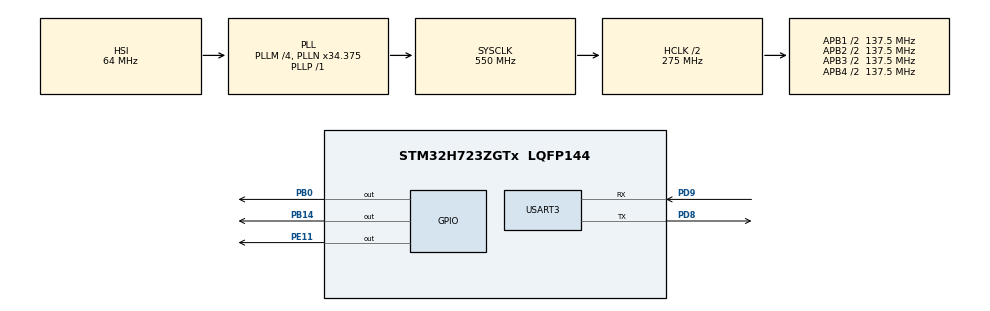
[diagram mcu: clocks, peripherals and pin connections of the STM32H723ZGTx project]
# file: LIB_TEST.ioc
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CORTEX_M7.default_mode_Activation=1
Mcu.Family=STM32H7
Mcu.Name=STM32H723ZGTx
Mcu.Package=LQFP144
NVIC.PriorityGroup=NVIC_PRIORITYGROUP_4
NVIC.USART3_IRQn=true\:0\:0\:false\:false\:true\:true\:true\:true
PB0.Signal=GPIO_Output
PB14.Signal=GPIO_Output
PD8.Mode=Asynchronous
PD8.Signal=USART3_TX
PD9.Mode=Asynchronous
PD9.Signal=USART3_RX
PE11.Signal=GPIO_Output
PH0-OSC_IN.Mode=HSE-External-Oscillator
PH0-OSC_IN.Signal=RCC_OSC_IN
PH1-OSC_OUT.Mode=HSE-External-Oscillator
PH1-OSC_OUT.Signal=RCC_OSC_OUT
ProjectManager.HeapSize=0x200
ProjectManager.StackSize=0x400
ProjectManager.TargetToolchain=CMake
RCC.ADCFreq_Value=129000000
RCC.APB1Freq_Value=137500000
RCC.APB2Freq_Value=137500000
RCC.APB3Freq_Value=137500000
RCC.APB4Freq_Value=137500000
RCC.CortexFreq_Value=550000000
RCC.D1PPRE=RCC_APB3_DIV2
RCC.D2PPRE1=RCC_APB1_DIV2
RCC.D2PPRE2=RCC_APB2_DIV2
RCC.D3PPRE=RCC_APB4_DIV2
RCC.DIVM1=4
RCC.DIVN1=34
RCC.DIVP1=1
RCC.HCLKFreq_Value=275000000
RCC.HPRE=RCC_HCLK_DIV2
RCC.PLL2FRACN=0
RCC.PLL3FRACN=0
RCC.PLLFRACN=3072
RCC.SYSCLKFreq_VALUE=550000000
RCC.SYSCLKSource=RCC_SYSCLKSOURCE_PLLCLK
RCC.USBFreq_Value=275000000
USART3.VirtualMode-Asynchronous=VM_ASYNC
VP_MEMORYMAP_VS_MEMORYMAP.Mode=CurAppReg
board=custom

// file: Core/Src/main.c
/* USER CODE BEGIN Header */
/**
  ******************************************************************************
  * @file           : main.c
  * @brief          : Main program body
  ******************************************************************************
  * @attention
  *
  * Copyright (c) 2026 STMicroelectronics.
  * All rights reserved.
  *
  * This software is licensed under terms that can be found in the LICENSE file
  * in the root directory of this software component.
  * If no LICENSE file comes with this software, it is provided AS-IS.
  *
  ******************************************************************************
  */
/* USER CODE END Header */
#include "main.h"
#include "usart.h"
#include "gpio.h"

/* USER CODE BEGIN Includes */
#include "ai_process.h"  // Native API wrapper
#include "stdio.h"
/* USER CODE END Includes */

void SystemClock_Config(void);
static void MPU_Config(void);

/* USER CODE BEGIN 0 */
static int8_t input_buffer[256] = {0};
/* USER CODE END 0 */

int main(void)
{

  /* MPU Configuration--------------------------------------------------------*/
  MPU_Config();

  /* MCU Configuration--------------------------------------------------------*/

  /* Reset of all peripherals, Initializes the Flash interface and the Systick. */
  HAL_Init();

  /* Configure the system clock */
  SystemClock_Config();

  /* Initialize all configured peripherals */
  MX_GPIO_Init();
  MX_USART3_UART_Init();
  /* USER CODE BEGIN 2 */

  int init_status = TFLM_Init();
  if (init_status != 0) {
      printf("TFLM Init Error: %d\r\n", init_status);
      while(1) { HAL_Delay(200); }
  }

  // 2. Prepare Test Input Data
  input_buffer[0] = 125;
  input_buffer[1] = 120;
  input_buffer[2] = 115;
  input_buffer[3] = 110;
  int8_t result = TFLM_Infer(input_buffer, 4);
  printf("Result: %d\r\n", result);
  printf("\r\n");

  /* USER CODE END 2 */

  /* Infinite loop */
  while (1) {

    /* USER CODE BEGIN 3 */
    // Loop Test: Decrement input values each iteration
    for(int i=0; i<4; i++) {
      input_buffer[i] -= 5;
    }

    printf("Input: %d, %d, %d, %d\r\n",
           input_buffer[0], input_buffer[1], input_buffer[2], input_buffer[3]);

    result = TFLM_Infer(input_buffer, 4);
    printf("Result: %d\r\n\r\n", result);

    HAL_GPIO_TogglePin(GPIOB, GPIO_PIN_0);
    HAL_Delay(1000);
  }
  /* USER CODE END 3 */
}

void SystemClock_Config(void)
{
  RCC_OscInitTypeDef RCC_OscInitStruct = {0};
  RCC_ClkInitTypeDef RCC_ClkInitStruct = {0};

  /** Supply configuration update enable
  */
  HAL_PWREx_ConfigSupply(PWR_LDO_SUPPLY);

  /** Configure the main internal regulator output voltage
  */
  __HAL_PWR_VOLTAGESCALING_CONFIG(PWR_REGULATOR_VOLTAGE_SCALE0);

  while(!__HAL_PWR_GET_FLAG(PWR_FLAG_VOSRDY)) {}

  /** Initializes the RCC Oscillators according to the specified parameters
  * in the RCC_OscInitTypeDef structure.
  */
  RCC_OscInitStruct.OscillatorType = RCC_OSCILLATORTYPE_HSI;
  RCC_OscInitStruct.HSIState = RCC_HSI_DIV1;
  RCC_OscInitStruct.HSICalibrationValue = 64;
  RCC_OscInitStruct.PLL.PLLState = RCC_PLL_ON;
  RCC_OscInitStruct.PLL.PLLSource = RCC_PLLSOURCE_HSI;
  RCC_OscInitStruct.PLL.PLLM = 4;
  RCC_OscInitStruct.PLL.PLLN = 34;
  RCC_OscInitStruct.PLL.PLLP = 1;
  RCC_OscInitStruct.PLL.PLLQ = 2;
  RCC_OscInitStruct.PLL.PLLR = 2;
  RCC_OscInitStruct.PLL.PLLRGE = RCC_PLL1VCIRANGE_3;
  RCC_OscInitStruct.PLL.PLLVCOSEL = RCC_PLL1VCOWIDE;
  RCC_OscInitStruct.PLL.PLLFRACN = 3072;
  if (HAL_RCC_OscConfig(&RCC_OscInitStruct) != HAL_OK)
  {
    Error_Handler();
  }

  /** Initializes the CPU, AHB and APB buses clocks
  */
  RCC_ClkInitStruct.ClockType = RCC_CLOCKTYPE_HCLK|RCC_CLOCKTYPE_SYSCLK
                              |RCC_CLOCKTYPE_PCLK1|RCC_CLOCKTYPE_PCLK2
                              |RCC_CLOCKTYPE_D3PCLK1|RCC_CLOCKTYPE_D1PCLK1;
  RCC_ClkInitStruct.SYSCLKSource = RCC_SYSCLKSOURCE_PLLCLK;
  RCC_ClkInitStruct.SYSCLKDivider = RCC_SYSCLK_DIV1;
  RCC_ClkInitStruct.AHBCLKDivider = RCC_HCLK_DIV2;
  RCC_ClkInitStruct.APB3CLKDivider = RCC_APB3_DIV2;
  RCC_ClkInitStruct.APB1CLKDivider = RCC_APB1_DIV2;
  RCC_ClkInitStruct.APB2CLKDivider = RCC_APB2_DIV2;
  RCC_ClkInitStruct.APB4CLKDivider = RCC_APB4_DIV2;

  if (HAL_RCC_ClockConfig(&RCC_ClkInitStruct, FLASH_LATENCY_3) != HAL_OK)
  {
    Error_Handler();
  }
}

 /* MPU Configuration */

void MPU_Config(void)
{
  MPU_Region_InitTypeDef MPU_InitStruct = {0};

  /* Disables the MPU */
  HAL_MPU_Disable();

  /** Initializes and configures the Region and the memory to be protected
  */
  MPU_InitStruct.Enable = MPU_REGION_ENABLE;
  MPU_InitStruct.Number = MPU_REGION_NUMBER0;
  MPU_InitStruct.BaseAddress = 0x0;
  MPU_InitStruct.Size = MPU_REGION_SIZE_4GB;
  MPU_InitStruct.SubRegionDisable = 0x87;
  MPU_InitStruct.TypeExtField = MPU_TEX_LEVEL0;
  MPU_InitStruct.AccessPermission = MPU_REGION_NO_ACCESS;
  MPU_InitStruct.DisableExec = MPU_INSTRUCTION_ACCESS_DISABLE;
  MPU_InitStruct.IsShareable = MPU_ACCESS_SHAREABLE;
  MPU_InitStruct.IsCacheable = MPU_ACCESS_NOT_CACHEABLE;
  MPU_InitStruct.IsBufferable = MPU_ACCESS_NOT_BUFFERABLE;

  HAL_MPU_ConfigRegion(&MPU_InitStruct);
  /* Enables the MPU */
  HAL_MPU_Enable(MPU_PRIVILEGED_DEFAULT);

}

void Error_Handler(void)
{
  __disable_irq();
  while (1)
  {
  }
}
